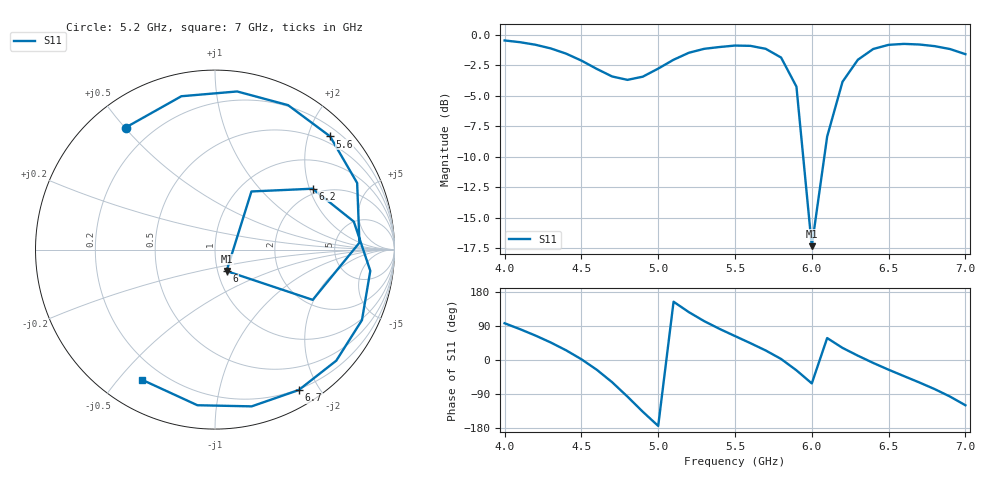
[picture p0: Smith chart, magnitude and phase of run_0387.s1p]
! Touchstone file exported from HFSS 2024.2.0
!  File:  C:/Users/wsak9/Desktop/Sim Fast/Widenad Patch/WP_AI_V1_sweep.aedt
!  Generated:  07:34:56 AM Oct 14, 2026
!  Design:  A1_model
!  Project:  WP_AI_V1_sweep
!  Setup:  Setup1
!  Solution:  Sweep
! Variables:
!  Air_gap = 3.31mm
!  Curve_Amp1 = 2.7
!  Curve_len1 = 1
!  Curve_pos = 9.925mm
!  Extra = 3.35mm
!  H_sub = 0.79mm
!  L_Patch = 15.85mm
!  L_Patch1 = 19.73mm
!  Sx = 3.63mm
!  Sy = 3.54mm
!  WS = 0.67mm
!  W_Patch = 13.62mm
!  W_Patch1 = 16.38mm
!Data is not renormalized
# GHz S MA
! Terminal data exported
! Port[1] = 1
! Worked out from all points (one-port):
!   31 points, 4 GHz to 7 GHz, reference per port
!   lowest |S11| = -17.3 dB at 6 GHz (marker M1), VSWR 1.31
!   |S11| at or under -10 dB: 5.944 GHz to 6.082 GHz (137.8 MHz wide, 2.29 % of centre)
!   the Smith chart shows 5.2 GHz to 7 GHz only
!   S11 on the Smith chart (normalised r, x): 5.2 GHz: 0.11, +0.50; 5.6 GHz: 0.36, +2.40; 6 GHz: 1.10, -0.27; 6.2 GHz: 1.82, +2.10; 6.7 GHz: 0.19, -1.74; 7 GHz: 0.12, -0.58
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4  0.9464 97.0
4.2  0.9091 64.7
4.4  0.836 25.7
4.5  0.7827 2.0
4.6  0.7237 -25.7
4.7  0.6737 -58.6
4.8  0.6525 -96.7
4.9  0.6726 -136.7
5  0.7258 -174.0
5.1  0.7889 153.8
5.2  0.8428 126.2
5.3  0.8748 102.4
5.4  0.8897 82.0
5.5  0.9019 63.1
5.6  0.8994 44.5
5.7  0.8747 25.1
5.8  0.8056 2.7
5.9  0.6122 -27.2
6  0.1359 -61.8
6.1  0.3822 57.9
6.2  0.6409 32.0
6.3  0.7889 11.4
6.4  0.8732 -7.8
6.5  0.9081 -25.6
6.7  0.911 -59.2
6.8  0.8969 -76.8
6.9  0.8727 -96.4
7  0.8316 -119.4
